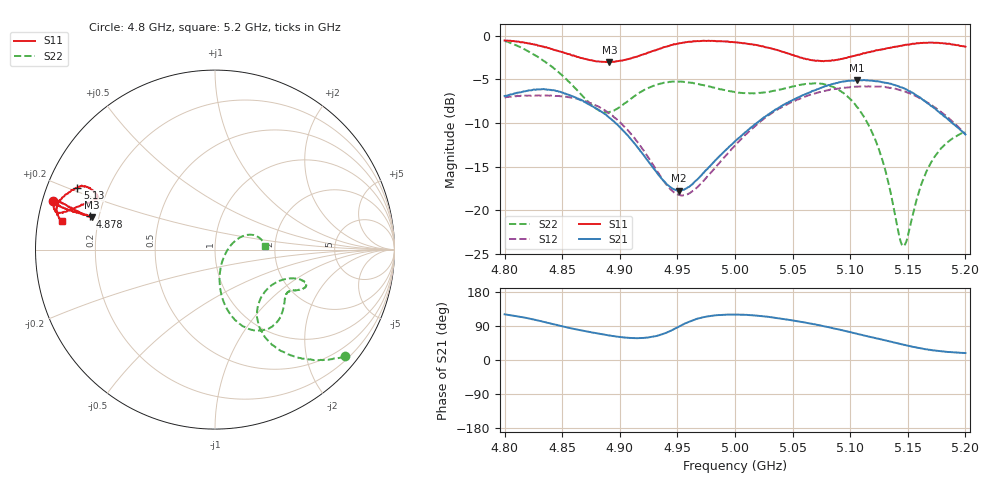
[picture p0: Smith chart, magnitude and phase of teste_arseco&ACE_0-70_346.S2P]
! Network Analyzer HP8722D
! Hewlett-Packard
! Data name: Linha & Wilkinson
! Saver's name: Rodrigo Anjos
! Comments: Teste da utilização de aquisição
! continua pelo VNA HP8722D
! Time and date: 8/5/2025 15:38
!  Frequency  S11  S21  S12  S22
# HZ  S  MA R 50
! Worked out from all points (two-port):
!   401 points, 4.8 GHz to 5.2 GHz, reference 50 ohm
!   highest |S21| = -5.07 dB at 5.106 GHz (marker M1); lowest = -17.7 dB at 4.951 GHz (marker M2)
!   |S21| within 3 dB of the highest: start of sweep to 4.876 GHz; 5.04 GHz to 5.171 GHz (130.6 MHz wide, 2.56 % of centre)
!   lowest |S11| = -3.0 dB at 4.891 GHz (marker M3), VSWR 5.83, Z = 8.72 + j6.25 ohm
!   |S11| at or under -10 dB: nowhere
!   |S22| runs from -24.1 to -0.6 dB; largest |S21 - S12| = 0.73
!   S11 on the Smith chart (normalised r, x): 4.8 GHz: 0.03, +0.15; 4.878 GHz: 0.17, +0.13; 5.13 GHz: 0.09, +0.21; 5.2 GHz: 0.07, +0.09
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4.8e9  0.9403 163.2  0.452 120.6  0.4438 15.8  0.9342 -39.4
4.833e9  0.8674 164.6  0.4942 101.3  0.4545 5.1  0.7253 -54.4
4.867e9  0.7443 164.9  0.4269 77.8  0.428 -9.7  0.4574 -58.8
4.878e9  0.7179 165.1  0.3887 71.6  0.4034 -15.9  0.3888 -51.5
4.891e9  0.707 165.3  0.3387 64.6  0.3587 -23.7  0.3656 -36.3
4.909e9  0.7411 165.0  0.2585 58.2  0.2771 -32.2  0.4332 -22.1
4.934e9  0.8402 163.8  0.1582 65.2  0.1618 -29.7  0.5294 -19.8
4.951e9  0.9045 162.9  0.1296 87.5  0.1226 -6.8  0.5463 -22.0
4.966e9  0.9305 163.1  0.1475 107.7  0.1332 16.8  0.5331 -24.4
5e9  0.9181 166.3  0.2483 119.8  0.2354 37.8  0.475 -29.2
5.033e9  0.8407 164.8  0.3698 112.3  0.3645 32.8  0.483 -36.6
5.067e9  0.7259 157.7  0.4829 95.4  0.4628 17.5  0.5328 -51.5
5.087e9  0.7256 155.0  0.5332 82.4  0.4968 6.1  0.5021 -63.8
5.106e9  0.7751 153.9  0.5581 69.1  0.5113 -5.2  0.3903 -75.3
5.119e9  0.8143 154.3  0.5531 59.9  0.5131 -13.5  0.2796 -81.1
5.13e9  0.8408 155.8  0.5377 52.2  0.5098 -20.8  0.1742 -81.7
5.134e9  0.851 156.6  0.5323 49.2  0.5025 -23.4  0.1362 -78.6
5.143e9  0.8732 158.6  0.5093 42.5  0.4888 -29.4  0.06908 -49.3
5.147e9  0.8837 159.5  0.4985 39.8  0.4797 -32.0  0.06266 -19.8
5.161e9  0.9105 162.8  0.4417 30.8  0.4372 -40.5  0.1362 25.0
5.17e9  0.9145 164.6  0.3965 26.3  0.4029 -45.0  0.1869 25.2
5.2e9  0.8658 169.3  0.272 18.3  0.2728 -54.0  0.2818 4.5
